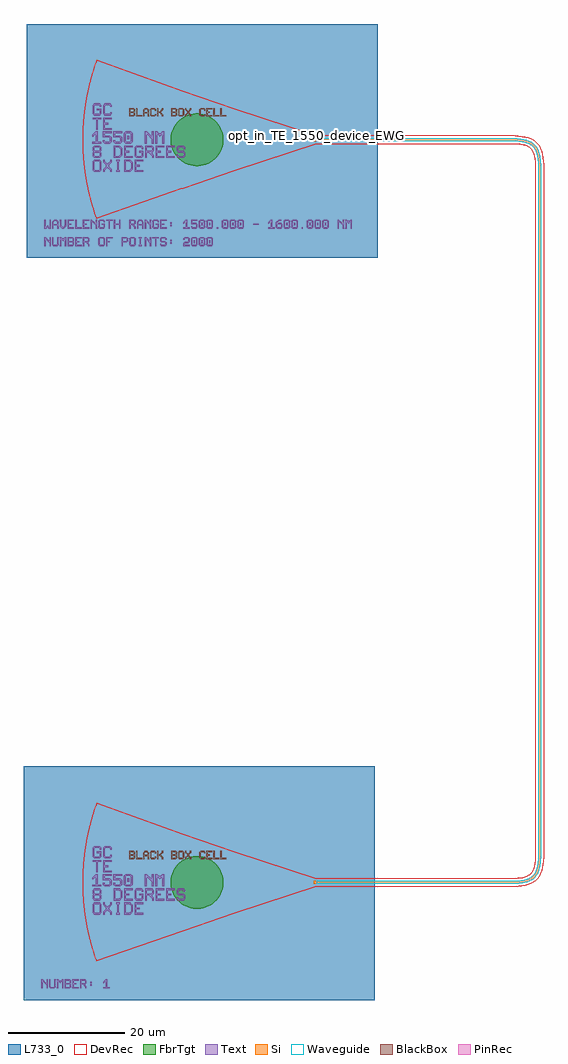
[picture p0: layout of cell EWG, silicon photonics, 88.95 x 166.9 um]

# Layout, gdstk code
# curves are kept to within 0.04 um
import gdstk
lib = gdstk.Library(unit=1e-6, precision=1e-09)
def R(c, l, rs):  # rectangles x0, y0, x1, y1
    for r in rs: c.add(gdstk.rectangle(r[:2], r[2:], *l))
def A(c, l, x, y, w, h, nx, ny, dx, dy):  # array of equal rectangles
    R(c, l, [(x+i*dx, y+j*dy, x+i*dx+w, y+j*dy+h) for i in range(nx) for j in range(ny)])
def P(c, l, *ps):  # polygons
    for p in ps: c.add(gdstk.Polygon(p, *l))
Si = (1, 0)
PinRec = (1, 10)
Waveguide = (1, 99)
Text = (10, 0)
DevRec = (68, 0)
FbrTgt = (81, 0)
L733_0 = (733, 0)
BlackBox = (998, 0)

text_3 = lib.new_cell('TEXT$3')
P(text_3, BlackBox, [(0,0),(0,1.4),(0.8,1.4),(1,1.2),(0.2,1.2),(0.2,0.8),(0.7,0.8),(0.8,0.9),(0.8,1.1),(0.7,1.2),(1,1.2),(1,0.8),(0.9,0.7),(1,0.6),(0.2,0.6),(0.2,0.2),(0.7,0.2),(0.8,0.3),(0.8,0.5),(0.7,0.6),(1,0.6),(1,0.2),(0.8,0)],
  [(1.2,0),(1.2,1.4),(1.4,1.4),(1.4,0.2),(2.2,0.2),(2.2,0)],
  [(2.4,0),(2.4,1.1),(2.7,1.4),(3.1,1.4),(3.3,1.2),(2.8,1.2),(2.6,1),(2.6,0.7),(3.2,0.7),(3.2,1),(3,1.2),(3.3,1.2),(3.4,1.1),(3.4,0),(3.2,0),(3.2,0.5),(2.6,0.5),(2.6,0)],
  [(3.8,0),(3.6,0.2),(3.6,1.2),(3.8,1.4),(4.4,1.4),(4.6,1.2),(4.6,1),(4.4,1),(4.4,1.1),(4.3,1.2),(3.9,1.2),(3.8,1.1),(3.8,0.3),(3.9,0.2),(4.3,0.2),(4.4,0.3),(4.4,0.4),(4.6,0.4),(4.6,0.2),(4.4,0)],
  [(4.8,0),(4.8,1.4),(5,1.4),(5,0.8),(5.2,0.8),(5.6,1.2),(5.6,1.4),(5.8,1.4),(5.8,1.1),(5.4,0.7),(5.8,0.3),(5.8,0),(5.6,0),(5.6,0.2),(5.2,0.6),(5,0.6),(5,0)],
  [(7.2,0),(7.2,1.4),(8,1.4),(8.2,1.2),(7.4,1.2),(7.4,0.8),(7.9,0.8),(8,0.9),(8,1.1),(7.9,1.2),(8.2,1.2),(8.2,0.8),(8.1,0.7),(8.2,0.6),(7.4,0.6),(7.4,0.2),(7.9,0.2),(8,0.3),(8,0.5),(7.9,0.6),(8.2,0.6),(8.2,0.2),(8,0)],
  [(8.6,0),(8.4,0.2),(8.4,1.2),(8.6,1.4),(9.2,1.4),(9.4,1.2),(9.4,0.7),(9.2,0.7),(9.2,1.1),(9.1,1.2),(8.7,1.2),(8.6,1.1),(8.6,0.3),(8.7,0.2),(9.1,0.2),(9.2,0.3),(9.2,0.7),(9.4,0.7),(9.4,0.2),(9.2,0)],
  [(9.6,0),(9.6,0.3),(9.9,0.6),(9.9,0.8),(9.6,1.1),(9.6,1.4),(9.8,1.4),(9.8,1.2),(10.1,0.9),(10.4,1.2),(10.4,1.4),(10.6,1.4),(10.6,1.1),(10.3,0.8),(10.3,0.6),(10.6,0.3),(10.6,0),(10.4,0),(10.4,0.2),(10.1,0.5),(9.8,0.2),(9.8,0)],
  [(12.2,0),(12,0.2),(12,1.2),(12.2,1.4),(12.8,1.4),(13,1.2),(13,1),(12.8,1),(12.8,1.1),(12.7,1.2),(12.3,1.2),(12.2,1.1),(12.2,0.3),(12.3,0.2),(12.7,0.2),(12.8,0.3),(12.8,0.4),(13,0.4),(13,0.2),(12.8,0)],
  [(13.2,0),(13.2,1.4),(14.2,1.4),(14.2,1.2),(13.4,1.2),(13.4,0.8),(13.8,0.8),(13.8,0.6),(13.4,0.6),(13.4,0.2),(14.2,0.2),(14.2,0)],
  [(14.4,0),(14.4,1.4),(14.6,1.4),(14.6,0.2),(15.4,0.2),(15.4,0)],
  [(15.6,0),(15.6,1.4),(15.8,1.4),(15.8,0.2),(16.6,0.2),(16.6,0)])

gc_te_1550_8degoxide_bb = lib.new_cell('GC_TE_1550_8degOxide_BB')
R(gc_te_1550_8degoxide_bb, Si, [(-0.4,-0.25,0,0.25)])
R(gc_te_1550_8degoxide_bb, Text, [(-32.313,0.092,-32.013,0.692)])
P(gc_te_1550_8degoxide_bb, Text, [(-37.67,1.71),(-37.67,3.51),(-38.27,3.51),(-38.27,3.81),(-36.77,3.81),(-36.77,3.51),(-37.37,3.51),(-37.37,1.71)],
  [(-37.97,-5.49),(-38.27,-5.19),(-38.27,-3.69),(-37.97,-3.39),(-37.07,-3.39),(-36.77,-3.69),(-36.77,-4.44),(-37.07,-4.44),(-37.07,-3.84),(-37.22,-3.69),(-37.82,-3.69),(-37.97,-3.84),(-37.97,-5.04),(-37.82,-5.19),(-37.22,-5.19),(-37.07,-5.04),(-37.07,-4.44),(-36.77,-4.44),(-36.77,-5.19),(-37.07,-5.49)],
  [(-31.07,-5.49),(-31.07,-3.39),(-29.57,-3.39),(-29.57,-3.69),(-30.77,-3.69),(-30.77,-4.29),(-30.17,-4.29),(-30.17,-4.59),(-30.77,-4.59),(-30.77,-5.19),(-29.57,-5.19),(-29.57,-5.49)],
  [(-32.87,-3.09),(-32.87,-0.99),(-31.37,-0.99),(-31.37,-1.29),(-32.57,-1.29),(-32.57,-1.89),(-31.97,-1.89),(-31.97,-2.19),(-32.57,-2.19),(-32.57,-2.79),(-31.37,-2.79),(-31.37,-3.09)],
  [(-27.47,-3.09),(-27.47,-0.99),(-25.97,-0.99),(-25.97,-1.29),(-27.17,-1.29),(-27.17,-1.89),(-26.57,-1.89),(-26.57,-2.19),(-27.17,-2.19),(-27.17,-2.79),(-25.97,-2.79),(-25.97,-3.09)],
  [(-25.67,-3.09),(-25.67,-0.99),(-24.17,-0.99),(-24.17,-1.29),(-25.37,-1.29),(-25.37,-1.89),(-24.77,-1.89),(-24.77,-2.19),(-25.37,-2.19),(-25.37,-2.79),(-24.17,-2.79),(-24.17,-3.09)],
  [(-36.47,1.71),(-36.47,3.81),(-34.97,3.81),(-34.97,3.51),(-36.17,3.51),(-36.17,2.91),(-35.57,2.91),(-35.57,2.61),(-36.17,2.61),(-36.17,2.01),(-34.97,2.01),(-34.97,1.71)],
  [(-29.313,-0.658),(-29.313,1.442),(-29.013,1.442),(-28.263,0.692),(-28.113,0.692),(-28.113,1.442),(-27.813,1.442),(-27.813,-0.658),(-28.113,-0.658),(-28.113,0.092),(-28.863,0.842),(-29.013,0.842),(-29.013,-0.658)],
  [(-34.22,-5.49),(-34.22,-5.19),(-34.07,-5.19),(-34.07,-3.69),(-34.22,-3.69),(-34.22,-3.39),(-33.62,-3.39),(-33.62,-3.69),(-33.77,-3.69),(-33.77,-5.19),(-33.62,-5.19),(-33.62,-5.49)],
  [(-36.17,4.11),(-36.47,4.41),(-36.47,5.91),(-36.17,6.21),(-35.27,6.21),(-34.97,5.91),(-34.97,5.61),(-35.27,5.61),(-35.27,5.76),(-35.42,5.91),(-36.02,5.91),(-36.17,5.76),(-36.17,4.56),(-36.02,4.41),(-35.42,4.41),(-35.27,4.56),(-35.27,4.71),(-34.97,4.71),(-34.97,4.41),(-35.27,4.11)],
  [(-27.513,-0.658),(-27.513,1.442),(-27.213,1.442),(-26.913,1.142),(-26.613,1.142),(-26.313,1.442),(-26.013,1.442),(-26.013,-0.658),(-26.313,-0.658),(-26.313,0.842),(-26.463,0.842),(-26.763,0.542),(-27.063,0.842),(-27.213,0.842),(-27.213,-0.658)],
  [(-32.613,-0.658),(-32.913,-0.358),(-32.913,1.142),(-32.613,1.442),(-31.713,1.442),(-31.413,1.142),(-32.463,1.142),(-32.613,0.992),(-32.613,-0.208),(-32.463,-0.358),(-31.863,-0.358),(-31.713,-0.208),(-31.713,0.992),(-31.863,1.142),(-31.413,1.142),(-31.413,-0.358),(-31.713,-0.658)],
  [(-32.87,-5.49),(-32.87,-3.39),(-31.82,-3.39),(-31.52,-3.69),(-32.57,-3.69),(-32.57,-5.19),(-31.97,-5.19),(-31.67,-4.89),(-31.67,-3.99),(-31.97,-3.69),(-31.52,-3.69),(-31.37,-3.84),(-31.37,-5.04),(-31.82,-5.49)],
  [(-34.67,-3.09),(-34.67,-0.99),(-33.62,-0.99),(-33.32,-1.29),(-34.37,-1.29),(-34.37,-2.79),(-33.77,-2.79),(-33.47,-2.49),(-33.47,-1.59),(-33.77,-1.29),(-33.32,-1.29),(-33.17,-1.44),(-33.17,-2.64),(-33.62,-3.09)],
  [(-23.57,-3.09),(-23.87,-2.79),(-23.87,-2.49),(-23.57,-2.49),(-23.57,-2.64),(-23.42,-2.79),(-22.82,-2.79),(-22.67,-2.64),(-22.67,-2.34),(-22.82,-2.19),(-23.57,-2.19),(-23.87,-1.89),(-23.87,-1.29),(-23.57,-0.99),(-22.67,-0.99),(-22.37,-1.29),(-22.37,-1.59),(-22.67,-1.59),(-22.67,-1.44),(-22.82,-1.29),(-23.42,-1.29),(-23.57,-1.44),(-23.57,-1.74),(-23.42,-1.89),(-22.67,-1.89),(-22.37,-2.19),(-22.37,-2.79),(-22.67,-3.09)],
  [(-36.213,-0.658),(-36.513,-0.358),(-36.513,-0.058),(-36.213,-0.058),(-36.213,-0.208),(-36.063,-0.358),(-35.463,-0.358),(-35.313,-0.208),(-35.313,0.242),(-35.463,0.392),(-36.513,0.392),(-36.513,1.442),(-35.013,1.442),(-35.013,1.142),(-36.213,1.142),(-36.213,0.692),(-35.313,0.692),(-35.013,0.392),(-35.013,-0.358),(-35.313,-0.658)],
  [(-34.413,-0.658),(-34.713,-0.358),(-34.713,-0.058),(-34.413,-0.058),(-34.413,-0.208),(-34.263,-0.358),(-33.663,-0.358),(-33.513,-0.208),(-33.513,0.242),(-33.663,0.392),(-34.713,0.392),(-34.713,1.442),(-33.213,1.442),(-33.213,1.142),(-34.413,1.142),(-34.413,0.692),(-33.513,0.692),(-33.213,0.392),(-33.213,-0.358),(-33.513,-0.658)],
  [(-37.97,-3.09),(-38.27,-2.79),(-38.27,-2.19),(-38.12,-2.04),(-38.27,-1.89),(-38.27,-1.29),(-37.97,-0.99),(-37.07,-0.99),(-36.77,-1.29),(-37.82,-1.29),(-37.97,-1.44),(-37.97,-1.74),(-37.82,-1.89),(-37.22,-1.89),(-37.07,-1.74),(-37.07,-1.44),(-37.22,-1.29),(-36.77,-1.29),(-36.77,-1.89),(-36.92,-2.04),(-36.77,-2.19),(-37.82,-2.19),(-37.97,-2.34),(-37.97,-2.64),(-37.82,-2.79),(-37.22,-2.79),(-37.07,-2.64),(-37.07,-2.34),(-37.22,-2.19),(-36.77,-2.19),(-36.77,-2.79),(-37.07,-3.09)],
  [(-38.313,-0.658),(-38.313,-0.358),(-37.713,-0.358),(-37.713,0.842),(-37.863,0.842),(-38.163,0.542),(-38.313,0.542),(-38.313,0.842),(-37.713,1.442),(-37.413,1.442),(-37.413,-0.358),(-36.813,-0.358),(-36.813,-0.658)],
  [(-36.47,-5.49),(-36.47,-5.04),(-36.02,-4.59),(-36.02,-4.29),(-36.47,-3.84),(-36.47,-3.39),(-36.17,-3.39),(-36.17,-3.69),(-35.72,-4.14),(-35.27,-3.69),(-35.27,-3.39),(-34.97,-3.39),(-34.97,-3.84),(-35.42,-4.29),(-35.42,-4.59),(-34.97,-5.04),(-34.97,-5.49),(-35.27,-5.49),(-35.27,-5.19),(-35.72,-4.74),(-36.17,-5.19),(-36.17,-5.49)],
  [(-30.77,-3.09),(-31.07,-2.79),(-31.07,-1.29),(-30.77,-0.99),(-29.87,-0.99),(-29.57,-1.29),(-29.57,-1.59),(-29.87,-1.59),(-29.87,-1.44),(-30.02,-1.29),(-30.62,-1.29),(-30.77,-1.44),(-30.77,-2.64),(-30.62,-2.79),(-30.02,-2.79),(-29.87,-2.64),(-29.87,-2.19),(-30.32,-2.19),(-30.32,-1.89),(-29.57,-1.89),(-29.57,-2.79),(-29.87,-3.09)],
  [(-37.97,4.11),(-38.27,4.41),(-38.27,5.91),(-37.97,6.21),(-37.07,6.21),(-36.77,5.91),(-36.77,5.61),(-37.07,5.61),(-37.07,5.76),(-37.22,5.91),(-37.82,5.91),(-37.97,5.76),(-37.97,4.56),(-37.82,4.41),(-37.22,4.41),(-37.07,4.56),(-37.07,5.01),(-37.52,5.01),(-37.52,5.31),(-36.77,5.31),(-36.77,4.41),(-37.07,4.11)],
  [(-29.27,-3.09),(-29.27,-0.99),(-28.07,-0.99),(-27.77,-1.29),(-28.97,-1.29),(-28.97,-1.89),(-28.22,-1.89),(-28.07,-1.74),(-28.07,-1.44),(-28.22,-1.29),(-27.77,-1.29),(-27.77,-1.89),(-28.07,-2.19),(-28.07,-2.34),(-27.77,-2.64),(-27.77,-3.09),(-28.07,-3.09),(-28.07,-2.79),(-28.67,-2.19),(-28.97,-2.19),(-28.97,-3.09)])
P(gc_te_1550_8degoxide_bb, DevRec, [(-37.607,-13.5),(-38.627,-10.245),(-39.378,-6.832),(-39.647,-5.058),(-39.835,-3.274),(-39.969,0.224),(-39.812,3.541),(-39.331,7.097),(-38.557,10.505),(-37.546,13.669),(-22.8,8.353),(-14.109,5.36),(0,0.75),(0,-0.75),(-14.109,-5.36)])
P(gc_te_1550_8degoxide_bb, FbrTgt, [(-20.621,-4.5),(-21.495,-4.37),(-22.326,-4.073),(-23.084,-3.619),(-23.738,-3.026),(-24.264,-2.316),(-24.642,-1.518),(-24.857,-0.661),(-24.9,0.221),(-24.77,1.095),(-24.473,1.926),(-24.019,2.684),(-23.426,3.338),(-22.716,3.864),(-21.918,4.242),(-21.061,4.457),(-20.179,4.5),(-19.305,4.37),(-18.474,4.073),(-17.716,3.619),(-17.062,3.026),(-16.536,2.316),(-16.158,1.518),(-15.943,0.661),(-15.9,-0.221),(-16.03,-1.095),(-16.327,-1.926),(-16.781,-2.684),(-17.374,-3.338),(-18.084,-3.864),(-18.882,-4.242),(-19.739,-4.457)])
gc_te_1550_8degoxide_bb.add(gdstk.FlexPath([(-0.01,0),(0.01,0)], 0.5, ends="flush", simple_path=True, layer=1, datatype=10))  # PinRec
gc_te_1550_8degoxide_bb.add(gdstk.Reference(text_3, (-32,4)))
gc_te_1550_8degoxide_bb.add(gdstk.Label('opt1', (0,0), layer=1, texttype=10))
gc_te_1550_8degoxide_bb.add(gdstk.Label('Lumerical_INTERCONNECT_library=Design kits/ebeam', (-29,-7), layer=68, texttype=0))
gc_te_1550_8degoxide_bb.add(gdstk.Label('Component=GC_TE_1550_8degOxide_BB', (-28,-5), layer=68, texttype=0))

waveguide = lib.new_cell('Waveguide')
P(waveguide, Si, [(-67.4,-55.75),(-67.4,-55.25),(-32.993,-55.211),(-31.72,-55.021),(-31.106,-54.813),(-30.706,-54.593),(-30.377,-54.323),(-30.106,-53.993),(-29.714,-53.112),(-29.503,-51.885),(-29.45,-50.5),(-29.45,66.5),(-29.522,68.06),(-29.754,69.242),(-29.991,69.804),(-30.235,70.168),(-30.533,70.466),(-30.897,70.71),(-31.859,71.055),(-33.179,71.223),(-67.4,71.25),(-67.4,71.75),(-33.979,71.749),(-32.587,71.677),(-31.45,71.466),(-30.903,71.27),(-30.32,70.933),(-29.934,70.583),(-29.553,70.044),(-29.325,69.533),(-29.126,68.793),(-29.006,67.932),(-28.955,66.938),(-28.95,-50.5),(-29.023,-52.113),(-29.234,-53.25),(-29.43,-53.797),(-29.767,-54.38),(-30.117,-54.766),(-30.539,-55.08),(-31.032,-55.324),(-31.596,-55.505),(-33.15,-55.722)])
P(waveguide, Waveguide, [(-67.4,-55.75),(-67.4,-55.25),(-32.993,-55.211),(-31.72,-55.021),(-31.106,-54.813),(-30.706,-54.593),(-30.377,-54.323),(-30.106,-53.993),(-29.714,-53.112),(-29.503,-51.885),(-29.45,-50.5),(-29.45,66.5),(-29.522,68.06),(-29.754,69.242),(-29.991,69.804),(-30.235,70.168),(-30.533,70.466),(-30.897,70.71),(-31.859,71.055),(-33.179,71.223),(-67.4,71.25),(-67.4,71.75),(-33.979,71.749),(-32.587,71.677),(-31.45,71.466),(-30.903,71.27),(-30.32,70.933),(-29.934,70.583),(-29.553,70.044),(-29.325,69.533),(-29.126,68.793),(-29.006,67.932),(-28.955,66.938),(-28.95,-50.5),(-29.023,-52.113),(-29.234,-53.25),(-29.43,-53.797),(-29.767,-54.38),(-30.117,-54.766),(-30.539,-55.08),(-31.032,-55.324),(-31.596,-55.505),(-33.15,-55.722)])
P(waveguide, DevRec, [(-67.4,-56.25),(-67.4,-54.75),(-34.2,-54.75),(-32.455,-54.652),(-31.304,-54.354),(-30.824,-54.057),(-30.485,-53.658),(-30.225,-53.075),(-30.047,-52.244),(-29.95,-50.5),(-29.95,66.5),(-30.048,68.245),(-30.226,69.076),(-30.346,69.396),(-30.643,69.876),(-30.825,70.058),(-31.305,70.355),(-32.456,70.653),(-33.551,70.74),(-67.4,70.75),(-67.4,72.25),(-34.2,72.25),(-32.248,72.139),(-31.173,71.905),(-30.25,71.489),(-29.851,71.198),(-29.212,70.451),(-28.978,70.01),(-28.66,69.01),(-28.461,67.202),(-28.45,-50.5),(-28.561,-52.452),(-28.795,-53.527),(-29.211,-54.45),(-29.502,-54.849),(-30.249,-55.488),(-31.172,-55.904),(-31.69,-56.04),(-32.849,-56.203),(-34.2,-56.25)])
waveguide.add(gdstk.FlexPath([(-67.39,71.5),(-67.41,71.5)], 0.5, ends="flush", simple_path=True, layer=1, datatype=10))  # PinRec
waveguide.add(gdstk.FlexPath([(-67.39,-55.5),(-67.41,-55.5)], 0.5, ends="flush", simple_path=True, layer=1, datatype=10))  # PinRec
waveguide.add(gdstk.Label('opt1', (-67.4,71.5), layer=1, texttype=10))
waveguide.add(gdstk.Label('opt2', (-67.4,-55.5), layer=1, texttype=10))
waveguide.add(gdstk.Label('Lumerical_INTERCONNECT_library=Design kits/EBeam', (-67.4,71.4), layer=68, texttype=0))
waveguide.add(gdstk.Label('Component=ebeam_wg_integral_1550', (-67.4,71.6), layer=68, texttype=0))
waveguide.add(gdstk.Label('cellName=Waveguide', (-67.4,71.7), layer=68, texttype=0))
waveguide.add(gdstk.Label('Spice_param:wg_length=0.000200297 wg_width=5e-07 points="[[-67.4,71.5],[-29.2,71.5],[-29.2,-55.5],[-67.4,-55.5]]" radius=5e-06', (-67.4,71.5), layer=68, texttype=0))
waveguide.add(gdstk.Label('Length=200.297 (microns)', (-67.4,70.9), layer=68, texttype=0))
waveguide.add(gdstk.Label('waveguide_type=Strip TE 1550 nm, w=500 nm', (-67.4,71.3), layer=68, texttype=0))

text_1 = lib.new_cell('TEXT$1')
A(text_1, Text, 25.52, 0.55, 0.22, 0.44, 3, 1, 1.32, 0)
R(text_1, Text, [(21.56,0.44,21.78,0.66), (21.56,0.88,21.78,1.1)])
P(text_1, Text, [(0,0),(0,1.54),(0.22,1.54),(0.77,0.99),(0.88,0.99),(0.88,1.54),(1.1,1.54),(1.1,0),(0.88,0),(0.88,0.55),(0.33,1.1),(0.22,1.1),(0.22,0)],
  [(1.54,0),(1.32,0.22),(1.32,1.54),(1.54,1.54),(1.54,0.33),(1.65,0.22),(2.09,0.22),(2.2,0.33),(2.2,1.54),(2.42,1.54),(2.42,0.22),(2.2,0)],
  [(2.64,0),(2.64,1.54),(2.86,1.54),(3.08,1.32),(3.3,1.32),(3.52,1.54),(3.74,1.54),(3.74,0),(3.52,0),(3.52,1.1),(3.41,1.1),(3.19,0.88),(2.97,1.1),(2.86,1.1),(2.86,0)],
  [(3.96,0),(3.96,1.54),(4.84,1.54),(5.06,1.32),(4.18,1.32),(4.18,0.88),(4.73,0.88),(4.84,0.99),(4.84,1.21),(4.73,1.32),(5.06,1.32),(5.06,0.88),(4.95,0.77),(5.06,0.66),(4.18,0.66),(4.18,0.22),(4.73,0.22),(4.84,0.33),(4.84,0.55),(4.73,0.66),(5.06,0.66),(5.06,0.22),(4.84,0)],
  [(5.28,0),(5.28,1.54),(6.38,1.54),(6.38,1.32),(5.5,1.32),(5.5,0.88),(5.94,0.88),(5.94,0.66),(5.5,0.66),(5.5,0.22),(6.38,0.22),(6.38,0)],
  [(6.6,0),(6.6,1.54),(7.48,1.54),(7.7,1.32),(6.82,1.32),(6.82,0.88),(7.37,0.88),(7.48,0.99),(7.48,1.21),(7.37,1.32),(7.7,1.32),(7.7,0.88),(7.48,0.66),(7.48,0.55),(7.7,0.33),(7.7,0),(7.48,0),(7.48,0.22),(7.04,0.66),(6.82,0.66),(6.82,0)],
  [(9.46,0),(9.24,0.22),(9.24,1.32),(9.46,1.54),(10.12,1.54),(10.34,1.32),(10.34,0.77),(10.12,0.77),(10.12,1.21),(10.01,1.32),(9.57,1.32),(9.46,1.21),(9.46,0.33),(9.57,0.22),(10.01,0.22),(10.12,0.33),(10.12,0.77),(10.34,0.77),(10.34,0.22),(10.12,0)],
  [(10.56,0),(10.56,1.54),(11.66,1.54),(11.66,1.32),(10.78,1.32),(10.78,0.88),(11.22,0.88),(11.22,0.66),(10.78,0.66),(10.78,0)],
  [(13.2,0),(13.2,1.54),(14.08,1.54),(14.3,1.32),(14.3,0.88),(14.08,0.66),(13.42,0.66),(13.42,0.88),(13.97,0.88),(14.08,0.99),(14.08,1.21),(13.97,1.32),(13.42,1.32),(13.42,0)],
  [(14.74,0),(14.52,0.22),(14.52,1.32),(14.74,1.54),(15.4,1.54),(15.62,1.32),(15.62,0.77),(15.4,0.77),(15.4,1.21),(15.29,1.32),(14.85,1.32),(14.74,1.21),(14.74,0.33),(14.85,0.22),(15.29,0.22),(15.4,0.33),(15.4,0.77),(15.62,0.77),(15.62,0.22),(15.4,0)],
  [(16.17,0),(16.17,0.22),(16.28,0.22),(16.28,1.32),(16.17,1.32),(16.17,1.54),(16.61,1.54),(16.61,1.32),(16.5,1.32),(16.5,0.22),(16.61,0.22),(16.61,0)],
  [(17.16,0),(17.16,1.54),(17.38,1.54),(17.93,0.99),(18.04,0.99),(18.04,1.54),(18.26,1.54),(18.26,0),(18.04,0),(18.04,0.55),(17.49,1.1),(17.38,1.1),(17.38,0)],
  [(18.92,0),(18.92,1.32),(18.48,1.32),(18.48,1.54),(19.58,1.54),(19.58,1.32),(19.14,1.32),(19.14,0)],
  [(20.02,0),(19.8,0.22),(19.8,0.44),(20.02,0.44),(20.02,0.33),(20.13,0.22),(20.57,0.22),(20.68,0.33),(20.68,0.55),(20.57,0.66),(20.02,0.66),(19.8,0.88),(19.8,1.32),(20.02,1.54),(20.68,1.54),(20.9,1.32),(20.9,1.1),(20.68,1.1),(20.68,1.21),(20.57,1.32),(20.13,1.32),(20.02,1.21),(20.02,0.99),(20.13,0.88),(20.68,0.88),(20.9,0.66),(20.9,0.22),(20.68,0)],
  [(23.76,0),(23.76,0.55),(23.98,0.77),(24.53,0.77),(24.64,0.88),(24.64,1.21),(24.53,1.32),(24.09,1.32),(23.98,1.21),(23.98,1.1),(23.76,1.1),(23.76,1.32),(23.98,1.54),(24.64,1.54),(24.86,1.32),(24.86,0.77),(24.64,0.55),(24.09,0.55),(23.98,0.44),(23.98,0.22),(24.86,0.22),(24.86,0)],
  [(25.3,0),(25.08,0.22),(25.08,1.32),(25.3,1.54),(25.96,1.54),(26.18,1.32),(25.41,1.32),(25.3,1.21),(25.3,0.33),(25.41,0.22),(25.85,0.22),(25.96,0.33),(25.96,1.21),(25.85,1.32),(26.18,1.32),(26.18,0.22),(25.96,0)],
  [(26.62,0),(26.4,0.22),(26.4,1.32),(26.62,1.54),(27.28,1.54),(27.5,1.32),(26.73,1.32),(26.62,1.21),(26.62,0.33),(26.73,0.22),(27.17,0.22),(27.28,0.33),(27.28,1.21),(27.17,1.32),(27.5,1.32),(27.5,0.22),(27.28,0)],
  [(27.94,0),(27.72,0.22),(27.72,1.32),(27.94,1.54),(28.6,1.54),(28.82,1.32),(28.05,1.32),(27.94,1.21),(27.94,0.33),(28.05,0.22),(28.49,0.22),(28.6,0.33),(28.6,1.21),(28.49,1.32),(28.82,1.32),(28.82,0.22),(28.6,0)])

text_2 = lib.new_cell('TEXT$2')
A(text_2, Text, 30.8, 0.55, 0.22, 0.44, 3, 1, 1.32, 0)
A(text_2, Text, 45.32, 0.55, 0.22, 0.44, 3, 1, 1.32, 0)
R(text_2, Text, [(29.48,0,29.7,0.22), (44,0,44.22,0.22), (21.56,0.44,21.78,0.66), (26.84,0.55,27.06,0.99), (28.16,0.55,28.38,0.99), (41.36,0.55,41.58,0.99), (42.68,0.55,42.9,0.99), (35.75,0.66,36.63,0.88), (21.56,0.88,21.78,1.1)])
P(text_2, Text, [(0,0),(0,1.54),(0.22,1.54),(0.22,0.33),(0.33,0.33),(0.55,0.55),(0.77,0.33),(0.88,0.33),(0.88,1.54),(1.1,1.54),(1.1,0),(0.77,0),(0.55,0.22),(0.33,0)],
  [(1.32,0),(1.32,1.21),(1.65,1.54),(2.09,1.54),(2.31,1.32),(1.76,1.32),(1.54,1.1),(1.54,0.77),(2.2,0.77),(2.2,1.1),(1.98,1.32),(2.31,1.32),(2.42,1.21),(2.42,0),(2.2,0),(2.2,0.55),(1.54,0.55),(1.54,0)],
  [(3.08,0),(2.64,0.44),(2.64,1.54),(2.86,1.54),(2.86,0.55),(3.19,0.22),(3.52,0.55),(3.52,1.54),(3.74,1.54),(3.74,0.44),(3.3,0)],
  [(3.96,0),(3.96,1.54),(5.06,1.54),(5.06,1.32),(4.18,1.32),(4.18,0.88),(4.62,0.88),(4.62,0.66),(4.18,0.66),(4.18,0.22),(5.06,0.22),(5.06,0)],
  [(5.28,0),(5.28,1.54),(5.5,1.54),(5.5,0.22),(6.38,0.22),(6.38,0)],
  [(6.6,0),(6.6,1.54),(7.7,1.54),(7.7,1.32),(6.82,1.32),(6.82,0.88),(7.26,0.88),(7.26,0.66),(6.82,0.66),(6.82,0.22),(7.7,0.22),(7.7,0)],
  [(7.92,0),(7.92,1.54),(8.14,1.54),(8.69,0.99),(8.8,0.99),(8.8,1.54),(9.02,1.54),(9.02,0),(8.8,0),(8.8,0.55),(8.25,1.1),(8.14,1.1),(8.14,0)],
  [(9.46,0),(9.24,0.22),(9.24,1.32),(9.46,1.54),(10.12,1.54),(10.34,1.32),(10.34,1.1),(10.12,1.1),(10.12,1.21),(10.01,1.32),(9.57,1.32),(9.46,1.21),(9.46,0.33),(9.57,0.22),(10.01,0.22),(10.12,0.33),(10.12,0.66),(9.79,0.66),(9.79,0.88),(10.34,0.88),(10.34,0.22),(10.12,0)],
  [(11,0),(11,1.32),(10.56,1.32),(10.56,1.54),(11.66,1.54),(11.66,1.32),(11.22,1.32),(11.22,0)],
  [(11.88,0),(11.88,1.54),(12.1,1.54),(12.1,0.88),(12.76,0.88),(12.76,1.54),(12.98,1.54),(12.98,0),(12.76,0),(12.76,0.66),(12.1,0.66),(12.1,0)],
  [(14.52,0),(14.52,1.54),(15.4,1.54),(15.62,1.32),(14.74,1.32),(14.74,0.88),(15.29,0.88),(15.4,0.99),(15.4,1.21),(15.29,1.32),(15.62,1.32),(15.62,0.88),(15.4,0.66),(15.4,0.55),(15.62,0.33),(15.62,0),(15.4,0),(15.4,0.22),(14.96,0.66),(14.74,0.66),(14.74,0)],
  [(15.84,0),(15.84,1.21),(16.17,1.54),(16.61,1.54),(16.83,1.32),(16.28,1.32),(16.06,1.1),(16.06,0.77),(16.72,0.77),(16.72,1.1),(16.5,1.32),(16.83,1.32),(16.94,1.21),(16.94,0),(16.72,0),(16.72,0.55),(16.06,0.55),(16.06,0)],
  [(17.16,0),(17.16,1.54),(17.38,1.54),(17.93,0.99),(18.04,0.99),(18.04,1.54),(18.26,1.54),(18.26,0),(18.04,0),(18.04,0.55),(17.49,1.1),(17.38,1.1),(17.38,0)],
  [(18.7,0),(18.48,0.22),(18.48,1.32),(18.7,1.54),(19.36,1.54),(19.58,1.32),(19.58,1.1),(19.36,1.1),(19.36,1.21),(19.25,1.32),(18.81,1.32),(18.7,1.21),(18.7,0.33),(18.81,0.22),(19.25,0.22),(19.36,0.33),(19.36,0.66),(19.03,0.66),(19.03,0.88),(19.58,0.88),(19.58,0.22),(19.36,0)],
  [(19.8,0),(19.8,1.54),(20.9,1.54),(20.9,1.32),(20.02,1.32),(20.02,0.88),(20.46,0.88),(20.46,0.66),(20.02,0.66),(20.02,0.22),(20.9,0.22),(20.9,0)],
  [(23.76,0),(23.76,0.22),(24.2,0.22),(24.2,1.1),(24.09,1.1),(23.87,0.88),(23.76,0.88),(23.76,1.1),(24.2,1.54),(24.42,1.54),(24.42,0.22),(24.86,0.22),(24.86,0)],
  [(25.3,0),(25.08,0.22),(25.08,0.44),(25.3,0.44),(25.3,0.33),(25.41,0.22),(25.85,0.22),(25.96,0.33),(25.96,0.66),(25.85,0.77),(25.08,0.77),(25.08,1.54),(26.18,1.54),(26.18,1.32),(25.3,1.32),(25.3,0.99),(25.96,0.99),(26.18,0.77),(26.18,0.22),(25.96,0)],
  [(26.62,0),(26.4,0.22),(26.4,1.32),(26.62,1.54),(27.28,1.54),(27.5,1.32),(26.73,1.32),(26.62,1.21),(26.62,0.33),(26.73,0.22),(27.17,0.22),(27.28,0.33),(27.28,1.21),(27.17,1.32),(27.5,1.32),(27.5,0.22),(27.28,0)],
  [(27.94,0),(27.72,0.22),(27.72,1.32),(27.94,1.54),(28.6,1.54),(28.82,1.32),(28.05,1.32),(27.94,1.21),(27.94,0.33),(28.05,0.22),(28.49,0.22),(28.6,0.33),(28.6,1.21),(28.49,1.32),(28.82,1.32),(28.82,0.22),(28.6,0)],
  [(30.58,0),(30.36,0.22),(30.36,1.32),(30.58,1.54),(31.24,1.54),(31.46,1.32),(30.69,1.32),(30.58,1.21),(30.58,0.33),(30.69,0.22),(31.13,0.22),(31.24,0.33),(31.24,1.21),(31.13,1.32),(31.46,1.32),(31.46,0.22),(31.24,0)],
  [(31.9,0),(31.68,0.22),(31.68,1.32),(31.9,1.54),(32.56,1.54),(32.78,1.32),(32.01,1.32),(31.9,1.21),(31.9,0.33),(32.01,0.22),(32.45,0.22),(32.56,0.33),(32.56,1.21),(32.45,1.32),(32.78,1.32),(32.78,0.22),(32.56,0)],
  [(33.22,0),(33,0.22),(33,1.32),(33.22,1.54),(33.88,1.54),(34.1,1.32),(33.33,1.32),(33.22,1.21),(33.22,0.33),(33.33,0.22),(33.77,0.22),(33.88,0.33),(33.88,1.21),(33.77,1.32),(34.1,1.32),(34.1,0.22),(33.88,0)],
  [(38.28,0),(38.28,0.22),(38.72,0.22),(38.72,1.1),(38.61,1.1),(38.39,0.88),(38.28,0.88),(38.28,1.1),(38.72,1.54),(38.94,1.54),(38.94,0.22),(39.38,0.22),(39.38,0)],
  [(39.82,0),(39.6,0.22),(39.6,1.1),(40.04,1.54),(40.48,1.54),(40.48,1.32),(40.15,1.32),(39.93,1.1),(39.93,0.99),(40.48,0.99),(40.7,0.77),(39.93,0.77),(39.82,0.66),(39.82,0.33),(39.93,0.22),(40.37,0.22),(40.48,0.33),(40.48,0.66),(40.37,0.77),(40.7,0.77),(40.7,0.22),(40.48,0)],
  [(41.14,0),(40.92,0.22),(40.92,1.32),(41.14,1.54),(41.8,1.54),(42.02,1.32),(41.25,1.32),(41.14,1.21),(41.14,0.33),(41.25,0.22),(41.69,0.22),(41.8,0.33),(41.8,1.21),(41.69,1.32),(42.02,1.32),(42.02,0.22),(41.8,0)],
  [(42.46,0),(42.24,0.22),(42.24,1.32),(42.46,1.54),(43.12,1.54),(43.34,1.32),(42.57,1.32),(42.46,1.21),(42.46,0.33),(42.57,0.22),(43.01,0.22),(43.12,0.33),(43.12,1.21),(43.01,1.32),(43.34,1.32),(43.34,0.22),(43.12,0)],
  [(45.1,0),(44.88,0.22),(44.88,1.32),(45.1,1.54),(45.76,1.54),(45.98,1.32),(45.21,1.32),(45.1,1.21),(45.1,0.33),(45.21,0.22),(45.65,0.22),(45.76,0.33),(45.76,1.21),(45.65,1.32),(45.98,1.32),(45.98,0.22),(45.76,0)],
  [(46.42,0),(46.2,0.22),(46.2,1.32),(46.42,1.54),(47.08,1.54),(47.3,1.32),(46.53,1.32),(46.42,1.21),(46.42,0.33),(46.53,0.22),(46.97,0.22),(47.08,0.33),(47.08,1.21),(46.97,1.32),(47.3,1.32),(47.3,0.22),(47.08,0)],
  [(47.74,0),(47.52,0.22),(47.52,1.32),(47.74,1.54),(48.4,1.54),(48.62,1.32),(47.85,1.32),(47.74,1.21),(47.74,0.33),(47.85,0.22),(48.29,0.22),(48.4,0.33),(48.4,1.21),(48.29,1.32),(48.62,1.32),(48.62,0.22),(48.4,0)],
  [(50.16,0),(50.16,1.54),(50.38,1.54),(50.93,0.99),(51.04,0.99),(51.04,1.54),(51.26,1.54),(51.26,0),(51.04,0),(51.04,0.55),(50.49,1.1),(50.38,1.1),(50.38,0)],
  [(51.48,0),(51.48,1.54),(51.7,1.54),(51.92,1.32),(52.14,1.32),(52.36,1.54),(52.58,1.54),(52.58,0),(52.36,0),(52.36,1.1),(52.25,1.1),(52.03,0.88),(51.81,1.1),(51.7,1.1),(51.7,0)])

lumerical_interconnect_l = lib.new_cell('Lumerical_INTERCONNECT_Laser')
R(lumerical_interconnect_l, L733_0, [(-30,-20,30,20)])
lumerical_interconnect_l.add(gdstk.Reference(text_1, (-27,-18)))
lumerical_interconnect_l.add(gdstk.Reference(text_2, (-27,-15)))
lumerical_interconnect_l.add(gdstk.Label('Tunable Laser', (-27,16), layer=733, texttype=0))
lumerical_interconnect_l.add(gdstk.Label('Wavelength range: 1500.000 - 1600.000 nm', (-27,12), layer=733, texttype=0))
lumerical_interconnect_l.add(gdstk.Label('Number of points: 2000', (-27,8), layer=733, texttype=0))
lumerical_interconnect_l.add(gdstk.Label('Ignore optical IOs in simulations: 0', (-27,4), layer=733, texttype=0))

text = lib.new_cell('TEXT')
R(text, Text, [(8.36,0.44,8.58,0.66), (8.36,0.88,8.58,1.1)])
P(text, Text, [(0,0),(0,1.54),(0.22,1.54),(0.77,0.99),(0.88,0.99),(0.88,1.54),(1.1,1.54),(1.1,0),(0.88,0),(0.88,0.55),(0.33,1.1),(0.22,1.1),(0.22,0)],
  [(1.54,0),(1.32,0.22),(1.32,1.54),(1.54,1.54),(1.54,0.33),(1.65,0.22),(2.09,0.22),(2.2,0.33),(2.2,1.54),(2.42,1.54),(2.42,0.22),(2.2,0)],
  [(2.64,0),(2.64,1.54),(2.86,1.54),(3.08,1.32),(3.3,1.32),(3.52,1.54),(3.74,1.54),(3.74,0),(3.52,0),(3.52,1.1),(3.41,1.1),(3.19,0.88),(2.97,1.1),(2.86,1.1),(2.86,0)],
  [(3.96,0),(3.96,1.54),(4.84,1.54),(5.06,1.32),(4.18,1.32),(4.18,0.88),(4.73,0.88),(4.84,0.99),(4.84,1.21),(4.73,1.32),(5.06,1.32),(5.06,0.88),(4.95,0.77),(5.06,0.66),(4.18,0.66),(4.18,0.22),(4.73,0.22),(4.84,0.33),(4.84,0.55),(4.73,0.66),(5.06,0.66),(5.06,0.22),(4.84,0)],
  [(5.28,0),(5.28,1.54),(6.38,1.54),(6.38,1.32),(5.5,1.32),(5.5,0.88),(5.94,0.88),(5.94,0.66),(5.5,0.66),(5.5,0.22),(6.38,0.22),(6.38,0)],
  [(6.6,0),(6.6,1.54),(7.48,1.54),(7.7,1.32),(6.82,1.32),(6.82,0.88),(7.37,0.88),(7.48,0.99),(7.48,1.21),(7.37,1.32),(7.7,1.32),(7.7,0.88),(7.48,0.66),(7.48,0.55),(7.7,0.33),(7.7,0),(7.48,0),(7.48,0.22),(7.04,0.66),(6.82,0.66),(6.82,0)],
  [(10.56,0),(10.56,0.22),(11,0.22),(11,1.1),(10.89,1.1),(10.67,0.88),(10.56,0.88),(10.56,1.1),(11,1.54),(11.22,1.54),(11.22,0.22),(11.66,0.22),(11.66,0)])

lumerical_interconnect_d = lib.new_cell('Lumerical_INTERCONNECT_Detector')
R(lumerical_interconnect_d, L733_0, [(-30,-20,30,20)])
lumerical_interconnect_d.add(gdstk.Reference(text, (-27,-18)))
lumerical_interconnect_d.add(gdstk.Label('Detector', (-27,16), layer=733, texttype=0))
lumerical_interconnect_d.add(gdstk.Label('Detector Number: 1', (-27,12), layer=733, texttype=0))
lumerical_interconnect_d.add(gdstk.Label('LumericalINTERCONNECT_Detector 1', (0,0), layer=733, texttype=0))

ewg = lib.new_cell('EWG')
r = gdstk.Reference(gc_te_1550_8degoxide_bb, (-67.4,-55.5)); r.repetition = gdstk.Repetition(1, 2, v1=(0,0), v2=(0,127)); ewg.add(r)
ewg.add(gdstk.Reference(waveguide, (0,0)))
ewg.add(gdstk.Reference(lumerical_interconnect_l, (-86.9,71.3)))
ewg.add(gdstk.Reference(lumerical_interconnect_d, (-87.4,-55.6)))
ewg.add(gdstk.Label('opt_in_TE_1550_device_EWG', (-67.4,72.25), layer=10, texttype=0))

lib.write_gds('EWG.gds')
